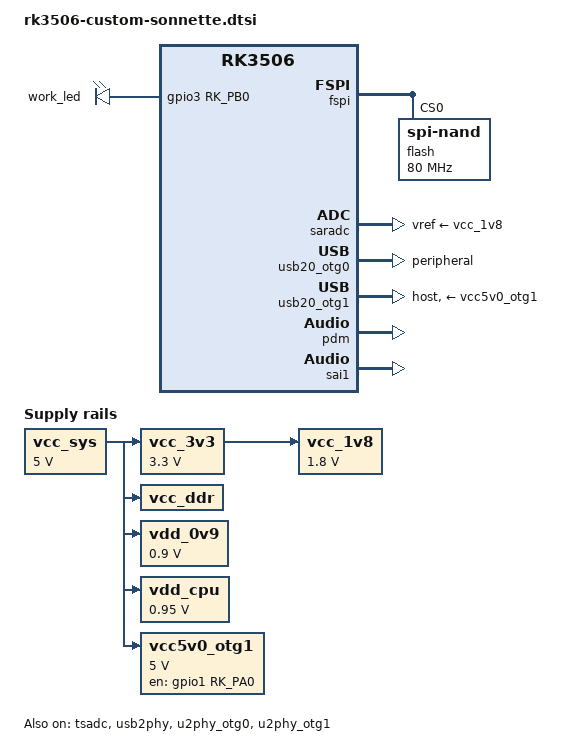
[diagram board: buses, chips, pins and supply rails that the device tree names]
// SPDX-License-Identifier: (GPL-2.0-or-later OR MIT)
/*
 * Custom Sonnette Board for RK3506G2
 * Smart doorbell with PDM mic, I2S speaker, GPIO ring button
 *
 * RMIO pin map:
 *   RMIO0  — Ring button (GPIO0_A0, input active low, sysfs userspace)
 *   RMIO1  — PDM CLK (mic MP34DT05TR-A)
 *   RMIO2  — PDM SDI0 (mic MP34DT05TR-A)
 *   RMIO15 — SAI1 LRCK (speaker MAX98357A)
 *   RMIO16 — SAI1 SCLK (speaker MAX98357A)
 *   RMIO17 — SAI1 SDO0 (speaker MAX98357A)
 */

#include <dt-bindings/pinctrl/rockchip.h>
#include <dt-bindings/suspend/rockchip-rk3506.h>
#include "rk3506.dtsi"

/ {
	/* Apply ring button pinctrl at boot (no driver claims this pin) */
	pinctrl-names = "default";
	pinctrl-0 = <&ring_button_pin>;

	fiq_debugger: fiq-debugger {
		compatible = "rockchip,fiq-debugger";
		rockchip,serial-id = <0>;
		rockchip,wake-irq = <0>;
		rockchip,irq-mode-enable = <1>;
		rockchip,baudrate = <115200>;
		interrupts = <GIC_SPI 115 IRQ_TYPE_LEVEL_HIGH>;
	};

	leds: leds {
		compatible = "gpio-leds";
		work_led: work-led {
			gpios = <&gpio3 RK_PB0 GPIO_ACTIVE_HIGH>;
			linux,default-trigger = "heartbeat";
		};
	};

	/* Power regulators - fixed voltage (no PMIC) */
	vcc_sys: vcc-sys {
		compatible = "regulator-fixed";
		regulator-name = "vcc_sys";
		regulator-always-on;
		regulator-boot-on;
		regulator-min-microvolt = <5000000>;
		regulator-max-microvolt = <5000000>;
	};

	vcc_3v3: vcc-3v3 {
		compatible = "regulator-fixed";
		regulator-name = "vcc_3v3";
		regulator-always-on;
		regulator-boot-on;
		regulator-min-microvolt = <3300000>;
		regulator-max-microvolt = <3300000>;
		vin-supply = <&vcc_sys>;
	};

	vcc_1v8: vcc-1v8 {
		compatible = "regulator-fixed";
		regulator-name = "vcc_1v8";
		regulator-always-on;
		regulator-boot-on;
		regulator-min-microvolt = <1800000>;
		regulator-max-microvolt = <1800000>;
		vin-supply = <&vcc_3v3>;
	};

	vcc_ddr: vcc-ddr {
		compatible = "regulator-fixed";
		regulator-name = "vcc_ddr";
		regulator-always-on;
		regulator-boot-on;
		vin-supply = <&vcc_sys>;
	};

	vdd_0v9: vdd-0v9 {
		compatible = "regulator-fixed";
		regulator-name = "vdd_0v9";
		regulator-always-on;
		regulator-boot-on;
		regulator-min-microvolt = <900000>;
		regulator-max-microvolt = <900000>;
		vin-supply = <&vcc_sys>;
	};

	vdd_cpu: vdd-cpu {
		compatible = "regulator-fixed";
		regulator-name = "vdd_cpu";
		regulator-boot-on;
		regulator-always-on;
		regulator-min-microvolt = <950000>;
		regulator-max-microvolt = <950000>;
		vin-supply = <&vcc_sys>;
	};

	/* USB OTG1 VBUS power control */
	vcc5v0_otg1: vcc5v0-otg1 {
		compatible = "regulator-fixed";
		regulator-name = "vcc5v0_otg1";
		regulator-min-microvolt = <5000000>;
		regulator-max-microvolt = <5000000>;
		gpio = <&gpio1 RK_PA0 GPIO_ACTIVE_HIGH>;
		enable-active-high;
		vin-supply = <&vcc_sys>;
	};

	/**********audio - sound cards**********/

	/* PDM microphone capture - dummy codec (PDM mic has no I2C control) */
	pdmics: pdm-dummy-codec {
		compatible = "rockchip,dummy-codec";
		#sound-dai-cells = <0>;
	};

	pdm_mic_sound: pdm-mic-sound {
		compatible = "simple-audio-card";
		simple-audio-card,name = "pdm-mic";
		simple-audio-card,format = "pdm";
		simple-audio-card,cpu {
			sound-dai = <&pdm>;
		};
		simple-audio-card,codec {
			sound-dai = <&pdmics>;
		};
	};

	/* I2S speaker playback - MAX98357A (no I2C, pure I2S amp) */
	spk_amp: spk-dummy-codec {
		compatible = "maxim,max98357a";
		#sound-dai-cells = <0>;
	};

	i2s_spk_sound: i2s-spk-sound {
		compatible = "simple-audio-card";
		simple-audio-card,name = "i2s-speaker";
		simple-audio-card,format = "i2s";
		simple-audio-card,mclk-fs = <256>;
		simple-audio-card,bitclock-master = <&spk_cpu>;
		simple-audio-card,frame-master = <&spk_cpu>;
		spk_cpu: simple-audio-card,cpu {
			sound-dai = <&sai1>;
		};
		simple-audio-card,codec {
			sound-dai = <&spk_amp>;
		};
	};
};

/**********cpu**********/
&cpu0 {
	cpu-supply = <&vdd_cpu>;
	status = "okay";
};

/**********ethernet GMAC0 — not populated on sonnette board **********/
&gmac0 {
	status = "disabled";
};

/**********storage — SD card not populated on sonnette board **********/
&mmc {
	status = "disabled";
};

&fspi {
	/* SPI NAND Flash XTX XT26G04C */
	status = "okay";

	flash@0 {
		compatible = "spi-nand";
		reg = <0>;
		spi-max-frequency = <80000000>;
		spi-rx-bus-width = <4>;
		spi-tx-bus-width = <1>;
	};
};

/**********adc**********/
&saradc {
	vref-supply = <&vcc_1v8>;
	status = "okay";
};

&tsadc {
	status = "okay";
};

/**********usb**********/
&usb20_otg0 {
	dr_mode = "peripheral";
	status = "okay";
};

&usb20_otg1 {
	dr_mode = "host";
	vbus-supply = <&vcc5v0_otg1>;
	status = "okay";
};

&usb2phy {
	status = "okay";
};

&u2phy_otg0 {
	status = "okay";
};

&u2phy_otg1 {
	status = "okay";
};

/**********audio - PDM mic on RMIO1(CLK) + RMIO2(SDI0) **********/
&pdm {
	status = "okay";
	pinctrl-names = "default";
	pinctrl-0 = <&rm_io1_pdm_clk0 &rm_io2_pdm_sdi0>;
};

/**********audio - SAI1 speaker on RMIO16(SCLK) + RMIO15(LRCK) + RMIO17(SDO0) **********/
&sai1 {
	status = "okay";
	pinctrl-names = "default";
	pinctrl-0 = <&rm_io16_sai1_sclk &rm_io15_sai1_lrck &rm_io17_sai1_sdo0>;
};

/**********pinctrl**********/
&pinctrl {
	ring_button {
		ring_button_pin: ring-button-pin {
			rockchip,pins = <0 RK_PA0 RK_FUNC_GPIO &pcfg_pull_up_smt>;
		};
	};
};
